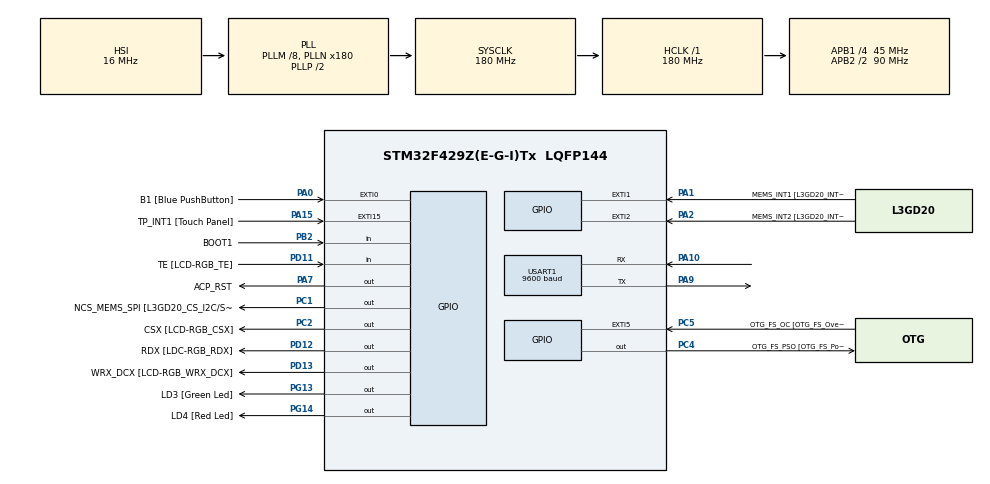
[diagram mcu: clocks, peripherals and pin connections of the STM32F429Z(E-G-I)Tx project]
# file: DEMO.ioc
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FREERTOS.Mutexes01=Toggle_Mutex
FREERTOS.Tasks01=defaultTask,-3,128,StartDefaultTask,Default;LED_3,-1,128,LED_Blink,Default;TOUCH,0,128,TOUCH_Detect,Default;USART_R,0,128,USART_Receive,Default
Mcu.Family=STM32F4
Mcu.Name=STM32F429Z(E-G-I)Tx
Mcu.Package=LQFP144
NVIC.PriorityGroup=NVIC_PRIORITYGROUP_4
NVIC.TIM1_UP_TIM10_IRQn=true\:0\:0\:false\:false\:true\:false
NVIC.TimeBase=TIM1_UP_TIM10_IRQn
NVIC.TimeBaseIP=TIM1
NVIC.USART1_IRQn=true\:0\:0\:false\:false\:true\:false
PA0/WKUP.GPIO_Label=B1 [Blue PushButton]
PA0/WKUP.GPIO_ModeDefaultEXTI=GPIO_MODE_EVT_RISING
PA0/WKUP.GPIO_PuPd=GPIO_NOPULL
PA0/WKUP.Signal=GPXTI0
PA1.GPIO_Label=MEMS_INT1 [L3GD20_INT1]
PA1.GPIO_ModeDefaultEXTI=GPIO_MODE_EVT_RISING
PA1.GPIO_PuPd=GPIO_NOPULL
PA1.Signal=GPXTI1
PA10.Mode=Asynchronous
PA10.Signal=USART1_RX
PA11.GPIO_Label=R4
PA11.GPIO_Mode=GPIO_MODE_AF_PP
PA11.GPIO_PuPd=GPIO_NOPULL
PA11.GPIO_Speed=GPIO_SPEED_FREQ_LOW
PA11.Signal=LTDC_R4
PA12.GPIO_Label=R5
PA12.GPIO_Mode=GPIO_MODE_AF_PP
PA12.GPIO_PuPd=GPIO_NOPULL
PA12.GPIO_Speed=GPIO_SPEED_FREQ_LOW
PA12.Signal=LTDC_R5
PA13.GPIO_Label=SWDIO
PA13.Mode=Serial_Wire
PA13.Signal=SYS_JTMS-SWDIO
PA14.GPIO_Label=SWCLK
PA14.Mode=Serial_Wire
PA14.Signal=SYS_JTCK-SWCLK
PA15.GPIO_Label=TP_INT1 [Touch Panel]
PA15.GPIO_ModeDefaultEXTI=GPIO_MODE_EVT_RISING
PA15.GPIO_PuPd=GPIO_NOPULL
PA15.Signal=GPXTI15
PA2.GPIO_Label=MEMS_INT2 [L3GD20_INT2]
PA2.GPIO_ModeDefaultEXTI=GPIO_MODE_EVT_RISING
PA2.GPIO_PuPd=GPIO_NOPULL
PA2.Signal=GPXTI2
PA3.GPIO_Label=B5
PA3.GPIO_Mode=GPIO_MODE_AF_PP
PA3.GPIO_PuPd=GPIO_NOPULL
PA3.GPIO_Speed=GPIO_SPEED_FREQ_LOW
PA3.Signal=LTDC_B5
PA4.GPIO_Label=VSYNC
PA4.GPIO_Mode=GPIO_MODE_AF_PP
PA4.GPIO_PuPd=GPIO_NOPULL
PA4.GPIO_Speed=GPIO_SPEED_FREQ_LOW
PA4.Signal=LTDC_VSYNC
PA6.GPIO_Label=G2
PA6.GPIO_Mode=GPIO_MODE_AF_PP
PA6.GPIO_PuPd=GPIO_NOPULL
PA6.GPIO_Speed=GPIO_SPEED_FREQ_LOW
PA6.Signal=LTDC_G2
PA7.GPIO_Label=ACP_RST
PA7.GPIO_Mode=GPIO_MODE_OUTPUT_PP
PA7.GPIO_PuPd=GPIO_NOPULL
PA7.GPIO_Speed=GPIO_SPEED_FREQ_LOW
PA7.Signal=GPIO_Output
PA8.GPIO_Label=I2C3_SCL [ACP/RF_SCL]
PA8.GPIO_Mode=GPIO_MODE_AF_OD
PA8.GPIO_PuPd=GPIO_NOPULL
PA8.GPIO_Speed=GPIO_SPEED_FREQ_LOW
PA8.Signal=I2C3_SCL
PA9.Mode=Asynchronous
PA9.Signal=USART1_TX
PB0.GPIO_Label=R3
PB0.GPIO_Mode=GPIO_MODE_AF_PP
PB0.GPIO_PuPd=GPIO_NOPULL
PB0.GPIO_Speed=GPIO_SPEED_FREQ_LOW
PB0.Signal=LTDC_R3
PB1.GPIO_Label=R6
PB1.GPIO_Mode=GPIO_MODE_AF_PP
PB1.GPIO_PuPd=GPIO_NOPULL
PB1.GPIO_Speed=GPIO_SPEED_FREQ_LOW
PB1.Signal=LTDC_R6
PB10.GPIO_Label=G4
PB10.GPIO_Mode=GPIO_MODE_AF_PP
PB10.GPIO_PuPd=GPIO_NOPULL
PB10.GPIO_Speed=GPIO_SPEED_FREQ_LOW
PB10.Signal=LTDC_G4
PB11.GPIO_Label=G5
PB11.GPIO_Mode=GPIO_MODE_AF_PP
PB11.GPIO_PuPd=GPIO_NOPULL
PB11.GPIO_Speed=GPIO_SPEED_FREQ_LOW
PB11.Signal=LTDC_G5
PB12.GPIO_Label=OTG_FS_ID
PB12.GPIO_Mode=GPIO_MODE_AF_PP
PB12.GPIO_PuPd=GPIO_NOPULL
PB12.GPIO_Speed=GPIO_SPEED_FREQ_LOW
PB12.Signal=USB_OTG_HS_ID
PB13.GPIO_Label=VBUS_FS
PB13.GPIO_Mode=GPIO_MODE_INPUT
PB13.GPIO_PuPd=GPIO_NOPULL
PB13.Signal=USB_OTG_HS_VBUS
PB14.GPIO_Label=OTG_FS_DM
PB14.GPIO_Mode=GPIO_MODE_AF_PP
PB14.GPIO_PuPd=GPIO_NOPULL
PB14.GPIO_Speed=GPIO_SPEED_FREQ_LOW
PB14.Signal=USB_OTG_HS_DM
PB15.GPIO_Label=OTG_FS_DP
PB15.GPIO_Mode=GPIO_MODE_AF_PP
PB15.GPIO_PuPd=GPIO_NOPULL
PB15.GPIO_Speed=GPIO_SPEED_FREQ_LOW
PB15.Signal=USB_OTG_HS_DP
PB2/BOOT1.GPIO_Label=BOOT1
PB2/BOOT1.GPIO_Mode=GPIO_MODE_INPUT
PB2/BOOT1.GPIO_PuPd=GPIO_NOPULL
PB2/BOOT1.Signal=GPIO_Input
PB5.GPIO_Label=SDCKE1
PB5.GPIO_Mode=GPIO_MODE_AF_PP
PB5.GPIO_PuPd=GPIO_NOPULL
PB5.GPIO_Speed=GPIO_SPEED_FREQ_VERY_HIGH
PB5.Signal=FMC_SDCKE1
PB6.GPIO_Label=SDNE1 [SDRAM_CS]
PB6.GPIO_Mode=GPIO_MODE_AF_PP
PB6.GPIO_PuPd=GPIO_NOPULL
PB6.GPIO_Speed=GPIO_SPEED_FREQ_VERY_HIGH
PB6.Signal=FMC_SDNE1
PB8.GPIO_Label=B6
PB8.GPIO_Mode=GPIO_MODE_AF_PP
PB8.GPIO_PuPd=GPIO_NOPULL
PB8.GPIO_Speed=GPIO_SPEED_FREQ_LOW
PB8.Signal=LTDC_B6
PB9.GPIO_Label=B7
PB9.GPIO_Mode=GPIO_MODE_AF_PP
PB9.GPIO_PuPd=GPIO_NOPULL
PB9.GPIO_Speed=GPIO_SPEED_FREQ_LOW
PB9.Signal=LTDC_B7
PC0.GPIO_Label=SDNWE
PC0.GPIO_Mode=GPIO_MODE_AF_PP
PC0.GPIO_PuPd=GPIO_NOPULL
PC0.GPIO_Speed=GPIO_SPEED_FREQ_VERY_HIGH
PC0.Signal=FMC_SDNWE
PC1.GPIO_Label=NCS_MEMS_SPI [L3GD20_CS_I2C/SPI]
PC1.GPIO_Mode=GPIO_MODE_OUTPUT_PP
PC1.GPIO_PuPd=GPIO_NOPULL
PC1.GPIO_Speed=GPIO_SPEED_FREQ_LOW
PC1.Signal=GPIO_Output
PC10.GPIO_Label=R2
PC10.GPIO_Mode=GPIO_MODE_AF_PP
PC10.GPIO_PuPd=GPIO_NOPULL
PC10.GPIO_Speed=GPIO_SPEED_FREQ_LOW
PC10.Signal=LTDC_R2
PC14/OSC32_IN.GPIO_Label=PC14-OSC32_IN
PC14/OSC32_IN.Signal=RCC_OSC32_IN
PC15/OSC32_OUT.GPIO_Label=PC15-OSC32_OUT
PC15/OSC32_OUT.Signal=RCC_OSC32_OUT
PC2.GPIO_Label=CSX [LCD-RGB_CSX]
PC2.GPIO_Mode=GPIO_MODE_OUTPUT_PP
PC2.GPIO_PuPd=GPIO_NOPULL
PC2.GPIO_Speed=GPIO_SPEED_FREQ_LOW
PC2.Signal=GPIO_Output
PC4.GPIO_Label=OTG_FS_PSO [OTG_FS_PowerSwitchOn]
PC4.GPIO_Mode=GPIO_MODE_OUTPUT_PP
PC4.GPIO_PuPd=GPIO_NOPULL
PC4.GPIO_Speed=GPIO_SPEED_FREQ_LOW
PC4.Signal=GPIO_Output
PC5.GPIO_Label=OTG_FS_OC [OTG_FS_OverCurrent]
PC5.GPIO_ModeDefaultEXTI=GPIO_MODE_EVT_RISING
PC5.Signal=GPXTI5
PC6.GPIO_Label=HSYNC
PC6.GPIO_Mode=GPIO_MODE_AF_PP
PC6.GPIO_PuPd=GPIO_NOPULL
PC6.GPIO_Speed=GPIO_SPEED_FREQ_LOW
PC6.Signal=LTDC_HSYNC
PC7.GPIO_Label=G6
PC7.GPIO_Mode=GPIO_MODE_AF_PP
PC7.GPIO_PuPd=GPIO_NOPULL
PC7.GPIO_Speed=GPIO_SPEED_FREQ_LOW
PC7.Signal=LTDC_G6
PC9.GPIO_Label=I2C3_SDA [ACP/RF_SDA]
PC9.GPIO_Mode=GPIO_MODE_AF_OD
PC9.GPIO_PuPd=GPIO_NOPULL
PC9.GPIO_Speed=GPIO_SPEED_FREQ_LOW
PC9.Signal=I2C3_SDA
PD0.GPIO_Label=D2
PD0.GPIO_Mode=GPIO_MODE_AF_PP
PD0.GPIO_PuPd=GPIO_NOPULL
PD0.GPIO_Speed=GPIO_SPEED_FREQ_VERY_HIGH
PD0.Signal=FMC_D2_DA2
PD1.GPIO_Label=D3
PD1.GPIO_Mode=GPIO_MODE_AF_PP
PD1.GPIO_PuPd=GPIO_NOPULL
PD1.GPIO_Speed=GPIO_SPEED_FREQ_VERY_HIGH
PD1.Signal=FMC_D3_DA3
PD10.GPIO_Label=D15
PD10.GPIO_Mode=GPIO_MODE_AF_PP
PD10.GPIO_PuPd=GPIO_NOPULL
PD10.GPIO_Speed=GPIO_SPEED_FREQ_VERY_HIGH
PD10.Signal=FMC_D15_DA15
PD11.GPIO_Label=TE [LCD-RGB_TE]
PD11.GPIO_Mode=GPIO_MODE_INPUT
PD11.GPIO_PuPd=GPIO_NOPULL
PD11.Signal=GPIO_Input
PD12.GPIO_Label=RDX [LDC-RGB_RDX]
PD12.GPIO_Mode=GPIO_MODE_OUTPUT_PP
PD12.GPIO_PuPd=GPIO_NOPULL
PD12.GPIO_Speed=GPIO_SPEED_FREQ_LOW
PD12.Signal=GPIO_Output
PD13.GPIO_Label=WRX_DCX [LCD-RGB_WRX_DCX]
PD13.GPIO_Mode=GPIO_MODE_OUTPUT_PP
PD13.GPIO_PuPd=GPIO_NOPULL
PD13.GPIO_Speed=GPIO_SPEED_FREQ_LOW
PD13.Signal=GPIO_Output
PD14.GPIO_Label=D0
PD14.GPIO_Mode=GPIO_MODE_AF_PP
PD14.GPIO_PuPd=GPIO_NOPULL
PD14.GPIO_Speed=GPIO_SPEED_FREQ_VERY_HIGH
PD14.Signal=FMC_D0_DA0
PD15.GPIO_Label=D1
PD15.GPIO_Mode=GPIO_MODE_AF_PP
PD15.GPIO_PuPd=GPIO_NOPULL
PD15.GPIO_Speed=GPIO_SPEED_FREQ_VERY_HIGH
PD15.Signal=FMC_D1_DA1
PD3.GPIO_Label=G7
PD3.GPIO_Mode=GPIO_MODE_AF_PP
PD3.GPIO_PuPd=GPIO_NOPULL
PD3.GPIO_Speed=GPIO_SPEED_FREQ_LOW
PD3.Signal=LTDC_G7
PD6.GPIO_Label=B2
PD6.GPIO_Mode=GPIO_MODE_AF_PP
PD6.GPIO_PuPd=GPIO_NOPULL
PD6.GPIO_Speed=GPIO_SPEED_FREQ_LOW
PD6.Signal=LTDC_B2
PD8.GPIO_Label=D13
PD8.GPIO_Mode=GPIO_MODE_AF_PP
PD8.GPIO_PuPd=GPIO_NOPULL
PD8.GPIO_Speed=GPIO_SPEED_FREQ_VERY_HIGH
PD8.Signal=FMC_D13_DA13
PD9.GPIO_Label=D14
PD9.GPIO_Mode=GPIO_MODE_AF_PP
PD9.GPIO_PuPd=GPIO_NOPULL
PD9.GPIO_Speed=GPIO_SPEED_FREQ_VERY_HIGH
PD9.Signal=FMC_D14_DA14
PE0.GPIO_Label=NBL0 [SDRAM_LDQM]
PE0.GPIO_Mode=GPIO_MODE_AF_PP
PE0.GPIO_PuPd=GPIO_NOPULL
PE0.GPIO_Speed=GPIO_SPEED_FREQ_VERY_HIGH
PE0.Signal=FMC_NBL0
PE1.GPIO_Label=NBL1 [SDRAM_UDQM]
PE1.GPIO_Mode=GPIO_MODE_AF_PP
PE1.GPIO_PuPd=GPIO_NOPULL
PE1.GPIO_Speed=GPIO_SPEED_FREQ_VERY_HIGH
PE1.Signal=FMC_NBL1
PE10.GPIO_Label=D7
PE10.GPIO_Mode=GPIO_MODE_AF_PP
PE10.GPIO_PuPd=GPIO_NOPULL
PE10.GPIO_Speed=GPIO_SPEED_FREQ_VERY_HIGH
PE10.Signal=FMC_D7_DA7
PE11.GPIO_Label=D8
PE11.GPIO_Mode=GPIO_MODE_AF_PP
PE11.GPIO_PuPd=GPIO_NOPULL
PE11.GPIO_Speed=GPIO_SPEED_FREQ_VERY_HIGH
PE11.Signal=FMC_D8_DA8
PE12.GPIO_Label=D9
PE12.GPIO_Mode=GPIO_MODE_AF_PP
PE12.GPIO_PuPd=GPIO_NOPULL
PE12.GPIO_Speed=GPIO_SPEED_FREQ_VERY_HIGH
PE12.Signal=FMC_D9_DA9
PE13.GPIO_Label=D10
PE13.GPIO_Mode=GPIO_MODE_AF_PP
PE13.GPIO_PuPd=GPIO_NOPULL
PE13.GPIO_Speed=GPIO_SPEED_FREQ_VERY_HIGH
PE13.Signal=FMC_D10_DA10
PE14.GPIO_Label=D11
PE14.GPIO_Mode=GPIO_MODE_AF_PP
PE14.GPIO_PuPd=GPIO_NOPULL
PE14.GPIO_Speed=GPIO_SPEED_FREQ_VERY_HIGH
PE14.Signal=FMC_D11_DA11
PE15.GPIO_Label=D12
PE15.GPIO_Mode=GPIO_MODE_AF_PP
PE15.GPIO_PuPd=GPIO_NOPULL
PE15.GPIO_Speed=GPIO_SPEED_FREQ_VERY_HIGH
PE15.Signal=FMC_D12_DA12
PE7.GPIO_Label=D4
PE7.GPIO_Mode=GPIO_MODE_AF_PP
PE7.GPIO_PuPd=GPIO_NOPULL
PE7.GPIO_Speed=GPIO_SPEED_FREQ_VERY_HIGH
PE7.Signal=FMC_D4_DA4
PE8.GPIO_Label=D5
PE8.GPIO_Mode=GPIO_MODE_AF_PP
PE8.GPIO_PuPd=GPIO_NOPULL
PE8.GPIO_Speed=GPIO_SPEED_FREQ_VERY_HIGH
PE8.Signal=FMC_D5_DA5
PE9.GPIO_Label=D6
PE9.GPIO_Mode=GPIO_MODE_AF_PP
PE9.GPIO_PuPd=GPIO_NOPULL
PE9.GPIO_Speed=GPIO_SPEED_FREQ_VERY_HIGH
PE9.Signal=FMC_D6_DA6
PF0.GPIO_Label=A0
PF0.GPIO_Mode=GPIO_MODE_AF_PP
PF0.GPIO_PuPd=GPIO_NOPULL
PF0.GPIO_Speed=GPIO_SPEED_FREQ_VERY_HIGH
PF0.Signal=FMC_A0
PF1.GPIO_Label=A1
PF1.GPIO_Mode=GPIO_MODE_AF_PP
PF1.GPIO_PuPd=GPIO_NOPULL
PF1.GPIO_Speed=GPIO_SPEED_FREQ_VERY_HIGH
PF1.Signal=FMC_A1
PF10.GPIO_Label=ENABLE [LCD-RGB_ENABLE]
PF10.GPIO_Mode=GPIO_MODE_AF_PP
PF10.GPIO_PuPd=GPIO_NOPULL
PF10.GPIO_Speed=GPIO_SPEED_FREQ_LOW
PF10.Signal=LTDC_DE
PF11.GPIO_Label=SDNRAS
PF11.GPIO_Mode=GPIO_MODE_AF_PP
PF11.GPIO_PuPd=GPIO_NOPULL
PF11.GPIO_Speed=GPIO_SPEED_FREQ_VERY_HIGH
PF11.Signal=FMC_SDNRAS
PF12.GPIO_Label=A6
PF12.GPIO_Mode=GPIO_MODE_AF_PP
PF12.GPIO_PuPd=GPIO_NOPULL
PF12.GPIO_Speed=GPIO_SPEED_FREQ_VERY_HIGH
PF12.Signal=FMC_A6
PF13.GPIO_Label=A7
PF13.GPIO_Mode=GPIO_MODE_AF_PP
PF13.GPIO_PuPd=GPIO_NOPULL
PF13.GPIO_Speed=GPIO_SPEED_FREQ_VERY_HIGH
PF13.Signal=FMC_A7
PF14.GPIO_Label=A8
PF14.GPIO_Mode=GPIO_MODE_AF_PP
PF14.GPIO_PuPd=GPIO_NOPULL
PF14.GPIO_Speed=GPIO_SPEED_FREQ_VERY_HIGH
PF14.Signal=FMC_A8
PF15.GPIO_Label=A9
PF15.GPIO_Mode=GPIO_MODE_AF_PP
PF15.GPIO_PuPd=GPIO_NOPULL
PF15.GPIO_Speed=GPIO_SPEED_FREQ_VERY_HIGH
PF15.Signal=FMC_A9
PF2.GPIO_Label=A2
PF2.GPIO_Mode=GPIO_MODE_AF_PP
PF2.GPIO_PuPd=GPIO_NOPULL
PF2.GPIO_Speed=GPIO_SPEED_FREQ_VERY_HIGH
PF2.Signal=FMC_A2
PF3.GPIO_Label=A3
PF3.GPIO_Mode=GPIO_MODE_AF_PP
PF3.GPIO_PuPd=GPIO_NOPULL
PF3.GPIO_Speed=GPIO_SPEED_FREQ_VERY_HIGH
PF3.Signal=FMC_A3
PF4.GPIO_Label=A4
PF4.GPIO_Mode=GPIO_MODE_AF_PP
PF4.GPIO_PuPd=GPIO_NOPULL
PF4.GPIO_Speed=GPIO_SPEED_FREQ_VERY_HIGH
PF4.Signal=FMC_A4
PF5.GPIO_Label=A5
PF5.GPIO_Mode=GPIO_MODE_AF_PP
PF5.GPIO_PuPd=GPIO_NOPULL
PF5.GPIO_Speed=GPIO_SPEED_FREQ_VERY_HIGH
PF5.Signal=FMC_A5
PF7.GPIO_Label=SPI5_SCK [L3GD20_SCL/SPC]
PF7.GPIO_Mode=GPIO_MODE_AF_PP
PF7.GPIO_PuPd=GPIO_NOPULL
PF7.GPIO_Speed=GPIO_SPEED_FREQ_LOW
PF7.Signal=SPI5_SCK
PF8.GPIO_Label=SPI5_MISO [L3GD20_SDO]
PF8.GPIO_Mode=GPIO_MODE_AF_PP
PF8.GPIO_PuPd=GPIO_NOPULL
PF8.GPIO_Speed=GPIO_SPEED_FREQ_LOW
PF8.Signal=SPI5_MISO
PF9.GPIO_Label=SPI5_MOSI [L3GD20_SDA/SDI/SDO]
PF9.GPIO_Mode=GPIO_MODE_AF_PP
PF9.GPIO_PuPd=GPIO_NOPULL
PF9.GPIO_Speed=GPIO_SPEED_FREQ_LOW
PF9.Signal=SPI5_MOSI
PG0.GPIO_Label=A10
PG0.GPIO_Mode=GPIO_MODE_AF_PP
PG0.GPIO_PuPd=GPIO_NOPULL
PG0.GPIO_Speed=GPIO_SPEED_FREQ_VERY_HIGH
PG0.Signal=FMC_A10
PG1.GPIO_Label=A11
PG1.GPIO_Mode=GPIO_MODE_AF_PP
PG1.GPIO_PuPd=GPIO_NOPULL
PG1.GPIO_Speed=GPIO_SPEED_FREQ_VERY_HIGH
PG1.Signal=FMC_A11
PG10.GPIO_Label=G3
PG10.GPIO_Mode=GPIO_MODE_AF_PP
PG10.GPIO_PuPd=GPIO_NOPULL
PG10.GPIO_Speed=GPIO_SPEED_FREQ_LOW
PG10.Signal=LTDC_G3
PG11.GPIO_Label=B3
PG11.GPIO_Mode=GPIO_MODE_AF_PP
PG11.GPIO_PuPd=GPIO_NOPULL
PG11.GPIO_Speed=GPIO_SPEED_FREQ_LOW
PG11.Signal=LTDC_B3
PG12.GPIO_Label=B4
PG12.GPIO_Mode=GPIO_MODE_AF_PP
PG12.GPIO_PuPd=GPIO_NOPULL
PG12.GPIO_Speed=GPIO_SPEED_FREQ_LOW
PG12.Signal=LTDC_B4
PG13.GPIO_Label=LD3 [Green Led]
PG13.GPIO_Mode=GPIO_MODE_OUTPUT_PP
PG13.GPIO_PuPd=GPIO_NOPULL
PG13.GPIO_Speed=GPIO_SPEED_FREQ_LOW
PG13.Signal=GPIO_Output
PG14.GPIO_Label=LD4 [Red Led]
PG14.GPIO_Mode=GPIO_MODE_OUTPUT_PP
PG14.GPIO_PuPd=GPIO_NOPULL
PG14.GPIO_Speed=GPIO_SPEED_FREQ_LOW
PG14.Signal=GPIO_Output
PG15.GPIO_Label=SDNCAS
PG15.GPIO_Mode=GPIO_MODE_AF_PP
PG15.GPIO_PuPd=GPIO_NOPULL
PG15.GPIO_Speed=GPIO_SPEED_FREQ_VERY_HIGH
PG15.Signal=FMC_SDNCAS
PG4.GPIO_Label=BA0
PG4.GPIO_Mode=GPIO_MODE_AF_PP
PG4.GPIO_PuPd=GPIO_NOPULL
PG4.GPIO_Speed=GPIO_SPEED_FREQ_VERY_HIGH
PG4.Signal=FMC_A14_BA0
PG5.GPIO_Label=BA1
PG5.GPIO_Mode=GPIO_MODE_AF_PP
PG5.GPIO_PuPd=GPIO_NOPULL
PG5.GPIO_Speed=GPIO_SPEED_FREQ_VERY_HIGH
PG5.Signal=FMC_A15_BA1
PG6.GPIO_Label=R7
PG6.GPIO_Mode=GPIO_MODE_AF_PP
PG6.GPIO_PuPd=GPIO_NOPULL
PG6.GPIO_Speed=GPIO_SPEED_FREQ_LOW
PG6.Signal=LTDC_R7
PG7.GPIO_Label=DOTCLK [LCT-RGB_DOTCLK]
PG7.GPIO_Mode=GPIO_MODE_AF_PP
PG7.GPIO_PuPd=GPIO_NOPULL
PG7.GPIO_Speed=GPIO_SPEED_FREQ_LOW
PG7.Signal=LTDC_CLK
PG8.GPIO_Label=SDCLK
PG8.GPIO_Mode=GPIO_MODE_AF_PP
PG8.GPIO_PuPd=GPIO_NOPULL
PG8.GPIO_Speed=GPIO_SPEED_FREQ_VERY_HIGH
PG8.Signal=FMC_SDCLK
PH0/OSC_IN.GPIO_Label=PH0-OSC_IN
PH0/OSC_IN.Mode=HSE-External-Oscillator
PH0/OSC_IN.Signal=RCC_OSC_IN
PH1/OSC_OUT.GPIO_Label=PH1-OSC_OUT
PH1/OSC_OUT.Mode=HSE-External-Oscillator
PH1/OSC_OUT.Signal=RCC_OSC_OUT
ProjectManager.HeapSize=0x200
ProjectManager.StackSize=0x400
ProjectManager.TargetToolchain=MDK-ARM V5
RCC.48MHZClocksFreq_Value=51428571.428571425
RCC.AHBFreq_Value=180000000
RCC.APB1CLKDivider=RCC_HCLK_DIV4
RCC.APB1Freq_Value=45000000
RCC.APB1TimFreq_Value=90000000
RCC.APB2CLKDivider=RCC_HCLK_DIV2
RCC.APB2Freq_Value=90000000
RCC.APB2TimFreq_Value=180000000
RCC.CortexFreq_Value=180000000
RCC.HCLKFreq_Value=180000000
RCC.HSE_VALUE=8000000
RCC.HSI_VALUE=16000000
RCC.LSE_VALUE=32768
RCC.PLLM=8
RCC.PLLN=180
RCC.PLLQ=7
RCC.SYSCLKFreq_VALUE=180000000
RCC.SYSCLKSource=RCC_SYSCLKSOURCE_PLLCLK
RCC.VCOOutputFreq_Value=360000000
SH.FMC_A0.0=FMC_A0
SH.FMC_A1.0=FMC_A1
SH.FMC_A10.0=FMC_A10
SH.FMC_A11.0=FMC_A11
SH.FMC_A14_BA0.0=FMC_BA0
SH.FMC_A15_BA1.0=FMC_BA1
SH.FMC_A2.0=FMC_A2
SH.FMC_A3.0=FMC_A3
SH.FMC_A4.0=FMC_A4
SH.FMC_A5.0=FMC_A5
SH.FMC_A6.0=FMC_A6
SH.FMC_A7.0=FMC_A7
SH.FMC_A8.0=FMC_A8
SH.FMC_A9.0=FMC_A9
SH.FMC_D0_DA0.0=FMC_D0
SH.FMC_D10_DA10.0=FMC_D10
SH.FMC_D11_DA11.0=FMC_D11
SH.FMC_D12_DA12.0=FMC_D12
SH.FMC_D13_DA13.0=FMC_D13
SH.FMC_D14_DA14.0=FMC_D14
SH.FMC_D15_DA15.0=FMC_D15
SH.FMC_D1_DA1.0=FMC_D1
SH.FMC_D2_DA2.0=FMC_D2
SH.FMC_D3_DA3.0=FMC_D3
SH.FMC_D4_DA4.0=FMC_D4
SH.FMC_D5_DA5.0=FMC_D5
SH.FMC_D6_DA6.0=FMC_D6
SH.FMC_D7_DA7.0=FMC_D7
SH.FMC_D8_DA8.0=FMC_D8
SH.FMC_D9_DA9.0=FMC_D9
SH.FMC_NBL0.0=FMC_NBL0
SH.FMC_NBL1.0=FMC_NBL1
SH.FMC_SDCLK.0=FMC_SDCLK
SH.FMC_SDNCAS.0=FMC_SDNCAS
SH.FMC_SDNRAS.0=FMC_SDNRAS
SH.FMC_SDNWE.0=FMC_SDNWE
USART1.BaudRate=9600
USART1.Parity=PARITY_ODD
VP_FREERTOS_VS_ENABLE.Mode=Enabled
VP_SYS_VS_tim1.Mode=TIM1
board=STM32F429I-DISCO

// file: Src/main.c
/**
  ******************************************************************************
  * File Name          : main.c
  * Description        : Main program body
  ******************************************************************************
  *
  * Copyright (c) 2017 STMicroelectronics International N.V.
  * All rights reserved.
  *
  * Redistribution and use in source and binary forms, with or without
  * modification, are permitted, provided that the following conditions are met:
  *
  * 1. Redistribution of source code must retain the above copyright notice,
  *    this list of conditions and the following disclaimer.
  * 2. Redistributions in binary form must reproduce the above copyright notice,
  *    this list of conditions and the following disclaimer in the documentation
  *    and/or other materials provided with the distribution.
  * 3. Neither the name of STMicroelectronics nor the names of other
  *    contributors to this software may be used to endorse or promote products
  *    derived from this software without specific written permission.
  * 4. This software, including modifications and/or derivative works of this
  *    software, must execute solely and exclusively on microcontroller or
  *    microprocessor devices manufactured by or for STMicroelectronics.
  * 5. Redistribution and use of this software other than as permitted under
  *    this license is void and will automatically terminate your rights under
  *    this license.
  *
  * THIS SOFTWARE IS PROVIDED BY STMICROELECTRONICS AND CONTRIBUTORS "AS IS"
  * AND ANY EXPRESS, IMPLIED OR STATUTORY WARRANTIES, INCLUDING, BUT NOT
  * LIMITED TO, THE IMPLIED WARRANTIES OF MERCHANTABILITY, FITNESS FOR A
  * PARTICULAR PURPOSE AND NON-INFRINGEMENT OF THIRD PARTY INTELLECTUAL PROPERTY
  * RIGHTS ARE DISCLAIMED TO THE FULLEST EXTENT PERMITTED BY LAW. IN NO EVENT
  * SHALL STMICROELECTRONICS OR CONTRIBUTORS BE LIABLE FOR ANY DIRECT, INDIRECT,
  * INCIDENTAL, SPECIAL, EXEMPLARY, OR CONSEQUENTIAL DAMAGES (INCLUDING, BUT NOT
  * LIMITED TO, PROCUREMENT OF SUBSTITUTE GOODS OR SERVICES; LOSS OF USE, DATA,
  * OR PROFITS; OR BUSINESS INTERRUPTION) HOWEVER CAUSED AND ON ANY THEORY OF
  * LIABILITY, WHETHER IN CONTRACT, STRICT LIABILITY, OR TORT (INCLUDING
  * NEGLIGENCE OR OTHERWISE) ARISING IN ANY WAY OUT OF THE USE OF THIS SOFTWARE,
  * EVEN IF ADVISED OF THE POSSIBILITY OF SUCH DAMAGE.
  *
  ******************************************************************************
  */
#include "main.h"
#include "stm32f4xx_hal.h"
#include "cmsis_os.h"

/* USER CODE BEGIN Includes */
#include "stm32f429i_discovery.h"
#include "stm32f429i_discovery_lcd.h"
#include "stm32f429i_discovery_ts.h"
/* USER CODE END Includes */

UART_HandleTypeDef huart1;

osThreadId defaultTaskHandle;
osThreadId LED_3Handle;
osThreadId TOUCHHandle;
osThreadId USART_RHandle;
osMutexId Toggle_MutexHandle;

/* USER CODE BEGIN PV */
/* Private variables ---------------------------------------------------------*/
static int Toggle_count = 0;
/* USER CODE END PV */

void SystemClock_Config(void);
void Error_Handler(void);
static void MX_GPIO_Init(void);
static void MX_USART1_UART_Init(void);
void StartDefaultTask(void const * argument);
void LED_Blink(void const * argument);
void TOUCH_Detect(void const * argument);
void USART_Receive(void const * argument);

/* USER CODE BEGIN PFP */
/* Private function prototypes -----------------------------------------------*/
void LED4_Toggle(void);
void SCREEN_Toggle(unsigned int state);
void USART_Send(uint8_t *Message);
/* USER CODE END PFP */

int main(void)
{

  /* MCU Configuration----------------------------------------------------------*/

  /* Reset of all peripherals, Initializes the Flash interface and the Systick. */
  HAL_Init();

  /* Configure the system clock */
  SystemClock_Config();

  /* Initialize all configured peripherals */
  MX_GPIO_Init();
  MX_USART1_UART_Init();

  /* USER CODE BEGIN 2 */

	/* LED3 for LED_Toggle */
	BSP_LED_Init(LED3);
	/* LED4 for LED_Blink */
  BSP_LED_Init(LED4);
	/* Initialize the LCD */
  BSP_LCD_Init();
  /* Initialize TS on whole screen */
  BSP_TS_Init(240, 320);
	/* Select Layer */
  BSP_LCD_LayerDefaultInit(1, LCD_FRAME_BUFFER);
  BSP_LCD_SelectLayer(1);
	/* LCD Display On */
  BSP_LCD_DisplayOn();
  /* LCD background color */
  BSP_LCD_Clear(LCD_COLOR_WHITE);
  /* Text background color */
  BSP_LCD_SetBackColor(LCD_COLOR_RED);
  /* Text color */
  BSP_LCD_SetTextColor(LCD_COLOR_WHITE);
	/* LCD Title Show */
	BSP_LCD_DisplayStringAt(0, 40, "FreeRTOS", CENTER_MODE);
	/* Make the Botton to be Red */
	BSP_LCD_SetTextColor(LCD_COLOR_RED);
	BSP_LCD_DrawCircle(120, 180, 30);
	BSP_LCD_FillCircle(120, 180, 30);

  /* USER CODE END 2 */

  /* Create the mutex(es) */
  /* definition and creation of Toggle_Mutex */
  osMutexDef(Toggle_Mutex);
  Toggle_MutexHandle = osMutexCreate(osMutex(Toggle_Mutex));

  /* Create the thread(s) */
  /* definition and creation of defaultTask */
  osThreadDef(defaultTask, StartDefaultTask, osPriorityIdle, 0, 128);
  defaultTaskHandle = osThreadCreate(osThread(defaultTask), NULL);

  /* definition and creation of LED_3 */
  osThreadDef(LED_3, LED_Blink, osPriorityBelowNormal, 0, 128);
  LED_3Handle = osThreadCreate(osThread(LED_3), NULL);

  /* definition and creation of TOUCH */
  osThreadDef(TOUCH, TOUCH_Detect, osPriorityNormal, 0, 128);
  TOUCHHandle = osThreadCreate(osThread(TOUCH), NULL);

  /* definition and creation of USART_R */
  osThreadDef(USART_R, USART_Receive, osPriorityNormal, 0, 128);
  USART_RHandle = osThreadCreate(osThread(USART_R), NULL);

  /* Start scheduler */
  osKernelStart();

  /* We should never get here as control is now taken by the scheduler */

  /* Infinite loop */
  while (1)
  {

  }

}

/** System Clock Configuration
*/
void SystemClock_Config(void)
{

  RCC_OscInitTypeDef RCC_OscInitStruct;
  RCC_ClkInitTypeDef RCC_ClkInitStruct;

    /**Configure the main internal regulator output voltage
    */
  __HAL_RCC_PWR_CLK_ENABLE();

  __HAL_PWR_VOLTAGESCALING_CONFIG(PWR_REGULATOR_VOLTAGE_SCALE1);

    /**Initializes the CPU, AHB and APB busses clocks
    */
  RCC_OscInitStruct.OscillatorType = RCC_OSCILLATORTYPE_HSI;
  RCC_OscInitStruct.HSIState = RCC_HSI_ON;
  RCC_OscInitStruct.HSICalibrationValue = 16;
  RCC_OscInitStruct.PLL.PLLState = RCC_PLL_ON;
  RCC_OscInitStruct.PLL.PLLSource = RCC_PLLSOURCE_HSI;
  RCC_OscInitStruct.PLL.PLLM = 8;
  RCC_OscInitStruct.PLL.PLLN = 180;
  RCC_OscInitStruct.PLL.PLLP = RCC_PLLP_DIV2;
  RCC_OscInitStruct.PLL.PLLQ = 7;
  if (HAL_RCC_OscConfig(&RCC_OscInitStruct) != HAL_OK)
  {
    Error_Handler();
  }

    /**Activate the Over-Drive mode
    */
  if (HAL_PWREx_EnableOverDrive() != HAL_OK)
  {
    Error_Handler();
  }

    /**Initializes the CPU, AHB and APB busses clocks
    */
  RCC_ClkInitStruct.ClockType = RCC_CLOCKTYPE_HCLK|RCC_CLOCKTYPE_SYSCLK
                              |RCC_CLOCKTYPE_PCLK1|RCC_CLOCKTYPE_PCLK2;
  RCC_ClkInitStruct.SYSCLKSource = RCC_SYSCLKSOURCE_PLLCLK;
  RCC_ClkInitStruct.AHBCLKDivider = RCC_SYSCLK_DIV1;
  RCC_ClkInitStruct.APB1CLKDivider = RCC_HCLK_DIV4;
  RCC_ClkInitStruct.APB2CLKDivider = RCC_HCLK_DIV2;

  if (HAL_RCC_ClockConfig(&RCC_ClkInitStruct, FLASH_LATENCY_5) != HAL_OK)
  {
    Error_Handler();
  }

    /**Configure the Systick interrupt time
    */
  HAL_SYSTICK_Config(HAL_RCC_GetHCLKFreq()/1000);

    /**Configure the Systick
    */
  HAL_SYSTICK_CLKSourceConfig(SYSTICK_CLKSOURCE_HCLK);

  /* SysTick_IRQn interrupt configuration */
  HAL_NVIC_SetPriority(SysTick_IRQn, 15, 0);
}

/* USART1 init function */
static void MX_USART1_UART_Init(void)
{

  huart1.Instance = USART1;
  huart1.Init.BaudRate = 9600;
  huart1.Init.WordLength = UART_WORDLENGTH_8B;
  huart1.Init.StopBits = UART_STOPBITS_1;
  huart1.Init.Parity = UART_PARITY_ODD;
  huart1.Init.Mode = UART_MODE_TX_RX;
  huart1.Init.HwFlowCtl = UART_HWCONTROL_NONE;
  huart1.Init.OverSampling = UART_OVERSAMPLING_16;
  if (HAL_UART_Init(&huart1) != HAL_OK)
  {
    Error_Handler();
  }

}

/** Configure pins as
        * Analog
        * Input
        * Output
        * EVENT_OUT
        * EXTI
     PF0   ------> FMC_A0
     PF1   ------> FMC_A1
     PF2   ------> FMC_A2
     PF3   ------> FMC_A3
     PF4   ------> FMC_A4
     PF5   ------> FMC_A5
     PF7   ------> SPI5_SCK
     PF8   ------> SPI5_MISO
     PF9   ------> SPI5_MOSI
     PF10   ------> LTDC_DE
     PC0   ------> FMC_SDNWE
     PA3   ------> LTDC_B5
     PA4   ------> LTDC_VSYNC
     PA6   ------> LTDC_G2
     PB0   ------> LTDC_R3
     PB1   ------> LTDC_R6
     PF11   ------> FMC_SDNRAS
     PF12   ------> FMC_A6
     PF13   ------> FMC_A7
     PF14   ------> FMC_A8
     PF15   ------> FMC_A9
     PG0   ------> FMC_A10
     PG1   ------> FMC_A11
     PE7   ------> FMC_D4_DA4
     PE8   ------> FMC_D5_DA5
     PE9   ------> FMC_D6_DA6
     PE10   ------> FMC_D7_DA7
     PE11   ------> FMC_D8_DA8
     PE12   ------> FMC_D9_DA9
     PE13   ------> FMC_D10_DA10
     PE14   ------> FMC_D11_DA11
     PE15   ------> FMC_D12_DA12
     PB10   ------> LTDC_G4
     PB11   ------> LTDC_G5
     PB12   ------> USB_OTG_HS_ID
     PB13   ------> USB_OTG_HS_VBUS
     PB14   ------> USB_OTG_HS_DM
     PB15   ------> USB_OTG_HS_DP
     PD8   ------> FMC_D13_DA13
     PD9   ------> FMC_D14_DA14
     PD10   ------> FMC_D15_DA15
     PD14   ------> FMC_D0_DA0
     PD15   ------> FMC_D1_DA1
     PG4   ------> FMC_A14_BA0
     PG5   ------> FMC_A15_BA1
     PG6   ------> LTDC_R7
     PG7   ------> LTDC_CLK
     PG8   ------> FMC_SDCLK
     PC6   ------> LTDC_HSYNC
     PC7   ------> LTDC_G6
     PC9   ------> I2C3_SDA
     PA8   ------> I2C3_SCL
     PA11   ------> LTDC_R4
     PA12   ------> LTDC_R5
     PC10   ------> LTDC_R2
     PD0   ------> FMC_D2_DA2
     PD1   ------> FMC_D3_DA3
     PD3   ------> LTDC_G7
     PD6   ------> LTDC_B2
     PG10   ------> LTDC_G3
     PG11   ------> LTDC_B3
     PG12   ------> LTDC_B4
     PG15   ------> FMC_SDNCAS
     PB5   ------> FMC_SDCKE1
     PB6   ------> FMC_SDNE1
     PB8   ------> LTDC_B6
     PB9   ------> LTDC_B7
     PE0   ------> FMC_NBL0
     PE1   ------> FMC_NBL1
*/
static void MX_GPIO_Init(void)
{

  GPIO_InitTypeDef GPIO_InitStruct;

  /* GPIO Ports Clock Enable */
  __HAL_RCC_GPIOC_CLK_ENABLE();
  __HAL_RCC_GPIOF_CLK_ENABLE();
  __HAL_RCC_GPIOH_CLK_ENABLE();
  __HAL_RCC_GPIOA_CLK_ENABLE();
  __HAL_RCC_GPIOB_CLK_ENABLE();
  __HAL_RCC_GPIOG_CLK_ENABLE();
  __HAL_RCC_GPIOE_CLK_ENABLE();
  __HAL_RCC_GPIOD_CLK_ENABLE();

  /*Configure GPIO pins : A0_Pin A1_Pin A2_Pin A3_Pin
                           A4_Pin A5_Pin SDNRAS_Pin A6_Pin
                           A7_Pin A8_Pin A9_Pin */
  GPIO_InitStruct.Pin = A0_Pin|A1_Pin|A2_Pin|A3_Pin
                          |A4_Pin|A5_Pin|SDNRAS_Pin|A6_Pin
                          |A7_Pin|A8_Pin|A9_Pin;
  GPIO_InitStruct.Mode = GPIO_MODE_AF_PP;
  GPIO_InitStruct.Pull = GPIO_NOPULL;
  GPIO_InitStruct.Speed = GPIO_SPEED_FREQ_VERY_HIGH;
  GPIO_InitStruct.Alternate = GPIO_AF12_FMC;
  HAL_GPIO_Init(GPIOF, &GPIO_InitStruct);

  /*Configure GPIO pins : SPI5_SCK_Pin SPI5_MISO_Pin SPI5_MOSI_Pin */
  GPIO_InitStruct.Pin = SPI5_SCK_Pin|SPI5_MISO_Pin|SPI5_MOSI_Pin;
  GPIO_InitStruct.Mode = GPIO_MODE_AF_PP;
  GPIO_InitStruct.Pull = GPIO_NOPULL;
  GPIO_InitStruct.Speed = GPIO_SPEED_FREQ_LOW;
  GPIO_InitStruct.Alternate = GPIO_AF5_SPI5;
  HAL_GPIO_Init(GPIOF, &GPIO_InitStruct);

  /*Configure GPIO pin : ENABLE_Pin */
  GPIO_InitStruct.Pin = ENABLE_Pin;
  GPIO_InitStruct.Mode = GPIO_MODE_AF_PP;
  GPIO_InitStruct.Pull = GPIO_NOPULL;
  GPIO_InitStruct.Speed = GPIO_SPEED_FREQ_LOW;
  GPIO_InitStruct.Alternate = GPIO_AF14_LTDC;
  HAL_GPIO_Init(ENABLE_GPIO_Port, &GPIO_InitStruct);

  /*Configure GPIO pin : SDNWE_Pin */
  GPIO_InitStruct.Pin = SDNWE_Pin;
  GPIO_InitStruct.Mode = GPIO_MODE_AF_PP;
  GPIO_InitStruct.Pull = GPIO_NOPULL;
  GPIO_InitStruct.Speed = GPIO_SPEED_FREQ_VERY_HIGH;
  GPIO_InitStruct.Alternate = GPIO_AF12_FMC;
  HAL_GPIO_Init(SDNWE_GPIO_Port, &GPIO_InitStruct);

  /*Configure GPIO pins : NCS_MEMS_SPI_Pin CSX_Pin OTG_FS_PSO_Pin */
  GPIO_InitStruct.Pin = NCS_MEMS_SPI_Pin|CSX_Pin|OTG_FS_PSO_Pin;
  GPIO_InitStruct.Mode = GPIO_MODE_OUTPUT_PP;
  GPIO_InitStruct.Pull = GPIO_NOPULL;
  GPIO_InitStruct.Speed = GPIO_SPEED_FREQ_LOW;
  HAL_GPIO_Init(GPIOC, &GPIO_InitStruct);

  /*Configure GPIO pins : B1_Pin MEMS_INT1_Pin MEMS_INT2_Pin TP_INT1_Pin */
  GPIO_InitStruct.Pin = B1_Pin|MEMS_INT1_Pin|MEMS_INT2_Pin|TP_INT1_Pin;
  GPIO_InitStruct.Mode = GPIO_MODE_EVT_RISING;
  GPIO_InitStruct.Pull = GPIO_NOPULL;
  HAL_GPIO_Init(GPIOA, &GPIO_InitStruct);

  /*Configure GPIO pins : B5_Pin VSYNC_Pin G2_Pin R4_Pin
                           R5_Pin */
  GPIO_InitStruct.Pin = B5_Pin|VSYNC_Pin|G2_Pin|R4_Pin
                          |R5_Pin;
  GPIO_InitStruct.Mode = GPIO_MODE_AF_PP;
  GPIO_InitStruct.Pull = GPIO_NOPULL;
  GPIO_InitStruct.Speed = GPIO_SPEED_FREQ_LOW;
  GPIO_InitStruct.Alternate = GPIO_AF14_LTDC;
  HAL_GPIO_Init(GPIOA, &GPIO_InitStruct);

  /*Configure GPIO pin : ACP_RST_Pin */
  GPIO_InitStruct.Pin = ACP_RST_Pin;
  GPIO_InitStruct.Mode = GPIO_MODE_OUTPUT_PP;
  GPIO_InitStruct.Pull = GPIO_NOPULL;
  GPIO_InitStruct.Speed = GPIO_SPEED_FREQ_LOW;
  HAL_GPIO_Init(ACP_RST_GPIO_Port, &GPIO_InitStruct);

  /*Configure GPIO pin : OTG_FS_OC_Pin */
  GPIO_InitStruct.Pin = OTG_FS_OC_Pin;
  GPIO_InitStruct.Mode = GPIO_MODE_EVT_RISING;
  GPIO_InitStruct.Pull = GPIO_NOPULL;
  HAL_GPIO_Init(OTG_FS_OC_GPIO_Port, &GPIO_InitStruct);

  /*Configure GPIO pins : R3_Pin R6_Pin */
  GPIO_InitStruct.Pin = R3_Pin|R6_Pin;
  GPIO_InitStruct.Mode = GPIO_MODE_AF_PP;
  GPIO_InitStruct.Pull = GPIO_NOPULL;
  GPIO_InitStruct.Speed = GPIO_SPEED_FREQ_LOW;
  GPIO_InitStruct.Alternate = GPIO_AF9_LTDC;
  HAL_GPIO_Init(GPIOB, &GPIO_InitStruct);

  /*Configure GPIO pin : BOOT1_Pin */
  GPIO_InitStruct.Pin = BOOT1_Pin;
  GPIO_InitStruct.Mode = GPIO_MODE_INPUT;
  GPIO_InitStruct.Pull = GPIO_NOPULL;
  HAL_GPIO_Init(BOOT1_GPIO_Port, &GPIO_InitStruct);

  /*Configure GPIO pins : A10_Pin A11_Pin BA0_Pin BA1_Pin
                           SDCLK_Pin SDNCAS_Pin */
  GPIO_InitStruct.Pin = A10_Pin|A11_Pin|BA0_Pin|BA1_Pin
                          |SDCLK_Pin|SDNCAS_Pin;
  GPIO_InitStruct.Mode = GPIO_MODE_AF_PP;
  GPIO_InitStruct.Pull = GPIO_NOPULL;
  GPIO_InitStruct.Speed = GPIO_SPEED_FREQ_VERY_HIGH;
  GPIO_InitStruct.Alternate = GPIO_AF12_FMC;
  HAL_GPIO_Init(GPIOG, &GPIO_InitStruct);

  /*Configure GPIO pins : D4_Pin D5_Pin D6_Pin D7_Pin
                           D8_Pin D9_Pin D10_Pin D11_Pin
                           D12_Pin NBL0_Pin NBL1_Pin */
  GPIO_InitStruct.Pin = D4_Pin|D5_Pin|D6_Pin|D7_Pin
                          |D8_Pin|D9_Pin|D10_Pin|D11_Pin
                          |D12_Pin|NBL0_Pin|NBL1_Pin;
  GPIO_InitStruct.Mode = GPIO_MODE_AF_PP;
  GPIO_InitStruct.Pull = GPIO_NOPULL;
  GPIO_InitStruct.Speed = GPIO_SPEED_FREQ_VERY_HIGH;
  GPIO_InitStruct.Alternate = GPIO_AF12_FMC;
  HAL_GPIO_Init(GPIOE, &GPIO_InitStruct);

  /*Configure GPIO pins : G4_Pin G5_Pin B6_Pin B7_Pin */
  GPIO_InitStruct.Pin = G4_Pin|G5_Pin|B6_Pin|B7_Pin;
  GPIO_InitStruct.Mode = GPIO_MODE_AF_PP;
  GPIO_InitStruct.Pull = GPIO_NOPULL;
  GPIO_InitStruct.Speed = GPIO_SPEED_FREQ_LOW;
  GPIO_InitStruct.Alternate = GPIO_AF14_LTDC;
  HAL_GPIO_Init(GPIOB, &GPIO_InitStruct);

  /*Configure GPIO pins : OTG_FS_ID_Pin OTG_FS_DM_Pin OTG_FS_DP_Pin */
  GPIO_InitStruct.Pin = OTG_FS_ID_Pin|OTG_FS_DM_Pin|OTG_FS_DP_Pin;
  GPIO_InitStruct.Mode = GPIO_MODE_AF_PP;
  GPIO_InitStruct.Pull = GPIO_NOPULL;
  GPIO_InitStruct.Speed = GPIO_SPEED_FREQ_LOW;
  GPIO_InitStruct.Alternate = GPIO_AF12_OTG_HS_FS;
  HAL_GPIO_Init(GPIOB, &GPIO_InitStruct);

  /*Configure GPIO pin : VBUS_FS_Pin */
  GPIO_InitStruct.Pin = VBUS_FS_Pin;
  GPIO_InitStruct.Mode = GPIO_MODE_INPUT;
  GPIO_InitStruct.Pull = GPIO_NOPULL;
  HAL_GPIO_Init(VBUS_FS_GPIO_Port, &GPIO_InitStruct);

  /*Configure GPIO pins : D13_Pin D14_Pin D15_Pin D0_Pin
                           D1_Pin D2_Pin D3_Pin */
  GPIO_InitStruct.Pin = D13_Pin|D14_Pin|D15_Pin|D0_Pin
                          |D1_Pin|D2_Pin|D3_Pin;
  GPIO_InitStruct.Mode = GPIO_MODE_AF_PP;
  GPIO_InitStruct.Pull = GPIO_NOPULL;
  GPIO_InitStruct.Speed = GPIO_SPEED_FREQ_VERY_HIGH;
  GPIO_InitStruct.Alternate = GPIO_AF12_FMC;
  HAL_GPIO_Init(GPIOD, &GPIO_InitStruct);

  /*Configure GPIO pin : TE_Pin */
  GPIO_InitStruct.Pin = TE_Pin;
  GPIO_InitStruct.Mode = GPIO_MODE_INPUT;
  GPIO_InitStruct.Pull = GPIO_NOPULL;
  HAL_GPIO_Init(TE_GPIO_Port, &GPIO_InitStruct);

  /*Configure GPIO pins : RDX_Pin WRX_DCX_Pin */
  GPIO_InitStruct.Pin = RDX_Pin|WRX_DCX_Pin;
  GPIO_InitStruct.Mode = GPIO_MODE_OUTPUT_PP;
  GPIO_InitStruct.Pull = GPIO_NOPULL;
  GPIO_InitStruct.Speed = GPIO_SPEED_FREQ_LOW;
  HAL_GPIO_Init(GPIOD, &GPIO_InitStruct);

  /*Configure GPIO pins : R7_Pin DOTCLK_Pin B3_Pin */
  GPIO_InitStruct.Pin = R7_Pin|DOTCLK_Pin|B3_Pin;
  GPIO_InitStruct.Mode = GPIO_MODE_AF_PP;
  GPIO_InitStruct.Pull = GPIO_NOPULL;
  GPIO_InitStruct.Speed = GPIO_SPEED_FREQ_LOW;
  GPIO_InitStruct.Alternate = GPIO_AF14_LTDC;
  HAL_GPIO_Init(GPIOG, &GPIO_InitStruct);

  /*Configure GPIO pins : HSYNC_Pin G6_Pin R2_Pin */
  GPIO_InitStruct.Pin = HSYNC_Pin|G6_Pin|R2_Pin;
  GPIO_InitStruct.Mode = GPIO_MODE_AF_PP;
  GPIO_InitStruct.Pull = GPIO_NOPULL;
  GPIO_InitStruct.Speed = GPIO_SPEED_FREQ_LOW;
  GPIO_InitStruct.Alternate = GPIO_AF14_LTDC;
  HAL_GPIO_Init(GPIOC, &GPIO_InitStruct);

  /*Configure GPIO pin : I2C3_SDA_Pin */
  GPIO_InitStruct.Pin = I2C3_SDA_Pin;
  GPIO_InitStruct.Mode = GPIO_MODE_AF_OD;
  GPIO_InitStruct.Pull = GPIO_PULLUP;
  GPIO_InitStruct.Speed = GPIO_SPEED_FREQ_LOW;
  GPIO_InitStruct.Alternate = GPIO_AF4_I2C3;
  HAL_GPIO_Init(I2C3_SDA_GPIO_Port, &GPIO_InitStruct);

  /*Configure GPIO pin : I2C3_SCL_Pin */
  GPIO_InitStruct.Pin = I2C3_SCL_Pin;
  GPIO_InitStruct.Mode = GPIO_MODE_AF_OD;
  GPIO_InitStruct.Pull = GPIO_PULLUP;
  GPIO_InitStruct.Speed = GPIO_SPEED_FREQ_LOW;
  GPIO_InitStruct.Alternate = GPIO_AF4_I2C3;
  HAL_GPIO_Init(I2C3_SCL_GPIO_Port, &GPIO_InitStruct);

  /*Configure GPIO pins : G7_Pin B2_Pin */
  GPIO_InitStruct.Pin = G7_Pin|B2_Pin;
  GPIO_InitStruct.Mode = GPIO_MODE_AF_PP;
  GPIO_InitStruct.Pull = GPIO_NOPULL;
  GPIO_InitStruct.Speed = GPIO_SPEED_FREQ_LOW;
  GPIO_InitStruct.Alternate = GPIO_AF14_LTDC;
  HAL_GPIO_Init(GPIOD, &GPIO_InitStruct);

  /*Configure GPIO pins : G3_Pin B4_Pin */
  GPIO_InitStruct.Pin = G3_Pin|B4_Pin;
  GPIO_InitStruct.Mode = GPIO_MODE_AF_PP;
  GPIO_InitStruct.Pull = GPIO_NOPULL;
  GPIO_InitStruct.Speed = GPIO_SPEED_FREQ_LOW;
  GPIO_InitStruct.Alternate = GPIO_AF9_LTDC;
  HAL_GPIO_Init(GPIOG, &GPIO_InitStruct);

  /*Configure GPIO pins : LD3_Pin LD4_Pin */
  GPIO_InitStruct.Pin = LD3_Pin|LD4_Pin;
  GPIO_InitStruct.Mode = GPIO_MODE_OUTPUT_PP;
  GPIO_InitStruct.Pull = GPIO_NOPULL;
  GPIO_InitStruct.Speed = GPIO_SPEED_FREQ_LOW;
  HAL_GPIO_Init(GPIOG, &GPIO_InitStruct);

  /*Configure GPIO pins : SDCKE1_Pin SDNE1_Pin */
  GPIO_InitStruct.Pin = SDCKE1_Pin|SDNE1_Pin;
  GPIO_InitStruct.Mode = GPIO_MODE_AF_PP;
  GPIO_InitStruct.Pull = GPIO_NOPULL;
  GPIO_InitStruct.Speed = GPIO_SPEED_FREQ_VERY_HIGH;
  GPIO_InitStruct.Alternate = GPIO_AF12_FMC;
  HAL_GPIO_Init(GPIOB, &GPIO_InitStruct);

  /*Configure GPIO pin Output Level */
  HAL_GPIO_WritePin(GPIOC, NCS_MEMS_SPI_Pin|CSX_Pin|OTG_FS_PSO_Pin, GPIO_PIN_RESET);

  /*Configure GPIO pin Output Level */
  HAL_GPIO_WritePin(ACP_RST_GPIO_Port, ACP_RST_Pin, GPIO_PIN_RESET);

  /*Configure GPIO pin Output Level */
  HAL_GPIO_WritePin(GPIOD, RDX_Pin|WRX_DCX_Pin, GPIO_PIN_RESET);

  /*Configure GPIO pin Output Level */
  HAL_GPIO_WritePin(GPIOG, LD3_Pin|LD4_Pin, GPIO_PIN_RESET);

}

/* USER CODE BEGIN 4 */

/* LED_Toggle function */
void LED4_Toggle(void)
{
	/* Toggle LED State */
	BSP_LED_Toggle(LED3);
}

/* SCREEN_Toggle function */
void SCREEN_Toggle(unsigned int state)
{
	/* Toggle the Scren */
	if(state == 0)
	{
		/* BGC Red to White */
		/* LCD background color */
		BSP_LCD_Clear(LCD_COLOR_RED);
		/* Text background color */
		BSP_LCD_SetBackColor(LCD_COLOR_WHITE);
		/* Text color */
		BSP_LCD_SetTextColor(LCD_COLOR_RED);
		/* LCD Title Show */
		BSP_LCD_DisplayStringAt(0, 40, "FreeRTOS", CENTER_MODE);
		/* Make the Botton to be Red */
		BSP_LCD_SetTextColor(LCD_COLOR_WHITE);
		BSP_LCD_DrawCircle(120, 180, 30);
		BSP_LCD_FillCircle(120, 180, 30);
	}
	else
	{
		/* BGC White to Red */
		/* LCD background color */
		BSP_LCD_Clear(LCD_COLOR_WHITE);
		/* Text background color */
		BSP_LCD_SetBackColor(LCD_COLOR_RED);
		/* Text color */
		BSP_LCD_SetTextColor(LCD_COLOR_WHITE);
		/* LCD Title Show */
		BSP_LCD_DisplayStringAt(0, 40, "FreeRTOS", CENTER_MODE);
		/* Make the Botton to be Red */
		BSP_LCD_SetTextColor(LCD_COLOR_RED);
		BSP_LCD_DrawCircle(120, 180, 30);
		BSP_LCD_FillCircle(120, 180, 30);
	}
}
void USART_Send(uint8_t *Message)
{
	osMutexWait(Toggle_MutexHandle, 1000);
	{
		HAL_UART_Transmit(&huart1, Message, sizeof(Message), 1000);
	}
	osMutexRelease (Toggle_MutexHandle);
	/*osMutexWait(Toggle_MutexHandle, 1000);
	{
		uint8_t buffer = '\0';

		while(buffer != 'G')
		{
			HAL_UART_Transmit(&huart1, Message, sizeof(Message), 1000);
			osDelay(20);
			HAL_UART_Receive(&huart1, &buffer, sizeof(buffer), 1000);
			buffer = '\0';
		}
	}
	osMutexRelease (Toggle_MutexHandle);*/
}
/* USER CODE END 4 */

/* StartDefaultTask function */
void StartDefaultTask(void const * argument)
{

  for(;;)
  {
    osDelay(1);
  }
}

/* LED_Blink function */
void LED_Blink(void const * argument)
{
  /* USER CODE BEGIN LED_Blink */
  /* Infinite loop */
  for(;;)
  {
		BSP_LED_Toggle(LED4);
    osDelay(1000);
  }
  /* USER CODE END LED_Blink */
}

/* TOUCH_Detect function */
void TOUCH_Detect(void const * argument)
{
  /* USER CODE BEGIN TOUCH_Detect */
  static TS_StateTypeDef  TS_State;
	static uint32_t x = 0, y = 0;
	static uint32_t cx = 0, cy = 0;

  /* Infinite loop */
  for(;;)
  {
		/* Get touch screen position */
		BSP_TS_GetState(&TS_State);
		x = TS_State.X;
		y = TS_State.Y;
		/* Checks if touch is detected */
		if(TS_State.TouchDetected && !(cx == x && cy == y) )
		{
			cx = x;
			cy = y;
			if(y >= 160 & y <= 200)
			{
				/* Checks if 1st button is pressed */
				if(x >= 100 & x <= 140)
				{
					/* USART_Send */
					USART_Send( (uint8_t *) "T");
					/* LED4_Toggle */
					LED4_Toggle();
					/* SCREEN_Toggle */
					SCREEN_Toggle(Toggle_count);
					/* Change Toggle_count */
					Toggle_count = (Toggle_count + 1)%2;
					/* Prevent Multiple Touch */
					osDelay(100);
				}
			}
		}
    osDelay(50);
  }
  /* USER CODE END TOUCH_Detect */
}

/* USART_Receive function */
void USART_Receive(void const * argument)
{
  /* USER CODE BEGIN USART_Receive */
	uint8_t buffer = '\0';
  /* Infinite loop */
  for(;;)
  {
		osMutexWait(Toggle_MutexHandle, 1000);
		{
			HAL_UART_Receive(&huart1, &buffer, sizeof(buffer), 1000);
		}
		osMutexRelease (Toggle_MutexHandle);

		if(buffer != '\0')
		{
			if(buffer == (uint8_t) 'T')
			{
				/* LED4_Toggle */
				LED4_Toggle();
				/* SCREEN_Toggle */
				SCREEN_Toggle(Toggle_count);
				/* Change Toggle_count */
				Toggle_count = (Toggle_count + 1)%2;
			}
			//USART_Send( (uint8_t *) "Y");
			buffer = '\0';
		}
    osDelay(100);
  }
  /* USER CODE END USART_Receive */
}

void HAL_TIM_PeriodElapsedCallback(TIM_HandleTypeDef *htim)
{
  if (htim->Instance == TIM1) {
    HAL_IncTick();
  }
}

void Error_Handler(void)
{
  while(1)
  {
  }
}

/************************ (C) COPYRIGHT STMicroelectronics *****END OF FILE****/
